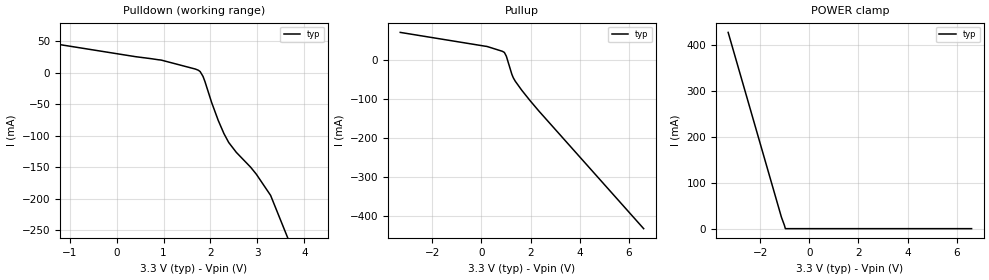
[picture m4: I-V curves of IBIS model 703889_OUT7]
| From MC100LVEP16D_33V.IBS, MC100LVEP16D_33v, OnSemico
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| (C) COPYRIGHT 1993-2001
| MENTOR GRAPHICS CORPORATION
| ICX STANDARD LIBRARY, ICX PROJECT MODELING,
| ICX CUSTOM MODELING, ICX VENDOR MODEL
| ALL RIGHTS RESERVED.
| THE FOLLOWING ARE TRADEMARKS OR SERVICE MARKS OF
| MENTOR GRAPHICS CORPORATION:ICX (R), ICX STANDARD
| LIBRARY(R), ICX PROJECT MODELING(R), ICX CUSTOM
| MODELING(R), qualityIBIS(TM), MODELVIEWER(TM),
| AND MODELEDITOR(TM)
| ALL COPIES OF SOFTWARE, INCLUDING BUT NOT LIMITED TO
| ANY MODIFICATIONS, ENHANCEMENTS OR DERIVATIVE WORKS,
| MUST CONTAIN ALL MENTOR GRAPHICS CORPORATION'S
| NOTICES AND LEGENDS, INCLUDING THOSE EMBEDDED IN
| SOFTWARE AND THOSE AFFIXED TO SOFTWARE MEDIUM
| AND CONTAINER, AS RECEIVED FROM MENTOR GRAPHICS
| CORPORATION.
| Model Application Version 1.89 2/18/99.
[Model] 703889_OUT7
Model_type Output_ECL
Vref=1.300V
Rref=50.00ohms
Cref=0.000F
Vmeas=1.942V
C_comp 1.000pF NA NA
| variable typ   min   max
[Voltage Range] 3.300V NA NA
[POWER Clamp Reference] 3.300V NA NA
[Pullup Reference] 3.300V NA NA
[Pulldown Reference] 3.300V NA NA
[GND Clamp Reference] 0.000V NA NA
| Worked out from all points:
|   POWER clamp passes 1 mA (typ) near -0.98 V on its own axis
[GND Clamp]
-3.3V     0A         NA         NA
6.6V      0A         NA         NA
[Pulldown]
-3.3V     69.88mA    NA         NA
949mV     20.5mA     NA         NA
1.74V     4.4mA      NA         NA
1.841V    -5.4mA     NA         NA
2.023V    -46.5mA    NA         NA
2.165V    -75.3mA    NA         NA
2.287V    -96.3mA    NA         NA
2.388V    -110.3mA   NA         NA
2.55V     -126mA     NA         NA
2.976V    -160.7mA   NA         NA
3.28V     -194.3mA   NA         NA
6.6V      -808.5mA   NA         NA
[Pullup]
-3.3V     71.33mA    NA         NA
204mV     35.4mA     NA         NA
934mV     19.8mA     NA         NA
1.015V    10.1mA     NA         NA
1.238V    -36.3mA    NA         NA
1.298V    -45.5mA    NA         NA
1.643V    -77.6mA    NA         NA
2.332V    -130.6mA   NA         NA
6.6V      -433.8mA   NA         NA
[POWER Clamp]
-3.3V     427.6mA    NA         NA
-1.134V   25.06mA    NA         NA
-1.012V   7.312mA    NA         NA
-973.1mV  0A         NA         NA
6.6V      0A         NA         NA
[Ramp]
| variable typ min max
dV/dt_r 304.1m/107.1p NA NA
dV/dt_f 304.1m/88.09p NA NA
R_load = 50.00Ohms
